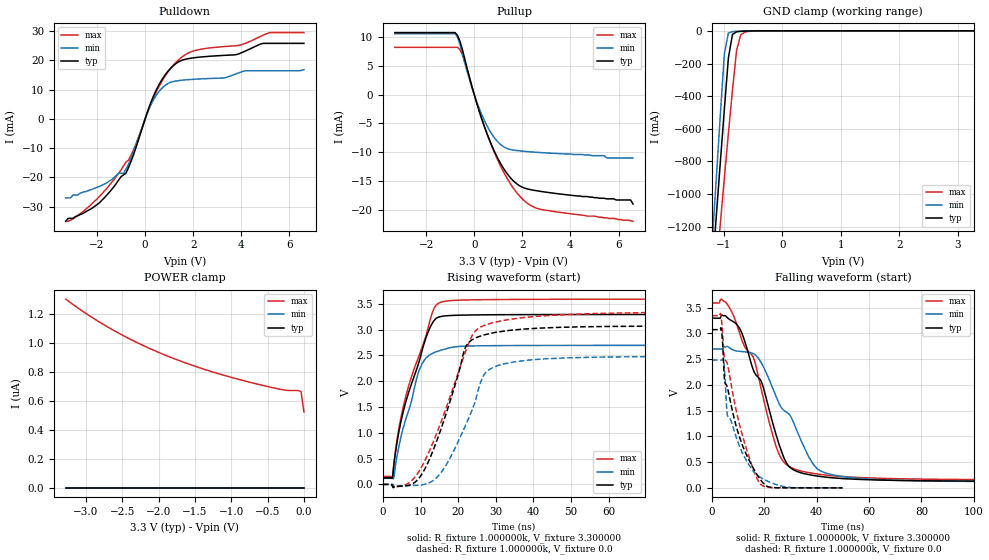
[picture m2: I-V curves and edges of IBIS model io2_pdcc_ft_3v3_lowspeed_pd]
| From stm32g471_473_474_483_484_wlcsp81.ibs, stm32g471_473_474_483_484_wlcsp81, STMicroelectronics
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|   Model io2_pdcc_ft_3v3_lowspeed_pd
[Model]  io2_pdcc_ft_3v3_lowspeed_pd
Model_type I/O
Polarity   Non-Inverting
Enable   Active-Low
Vinl =   0.990000V
Vinh =   2.310000V
Vmeas =  1.650000V
Cref =   30.000000pF
Rref =   100.000000M
Vref =   0.0V
C_comp   4.843300pF   4.282700pF   5.299100pF
[Temperature Range]   25.000000   -40.000000   0.125000k
[Pullup Reference]   3.300000V   2.700000V   3.600000V
[Pulldown Reference]   0.0V   0.0V   0.0V
[POWER Clamp Reference]   3.300000V   2.700000V   3.600000V
[GND Clamp Reference]   0.0V   0.0V   0.0V
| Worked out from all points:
|   slope of the pulldown table from 0 to 0.495 V, typ, clamps not added: 47.5 ohm
|   slope of the pullup table from 0 to 0.495 V, typ, clamps not added: 77.3 ohm
|   GND clamp passes 1 mA (typ) near -0.58 V on its own axis
|   rising waveform, R_fixture 1.000000k, V_fixture 3.300000: 20-80 % time 7.03ns typ, 5.52ns min, 7.83ns max; typ from 0.128 V to 3.29 V
|   rising waveform, R_fixture 1.000000k, V_fixture 0.0: 20-80 % time 8.02ns typ, 8.26ns min, 10ns max; typ from 0 V to 3.07 V
|   falling waveform, R_fixture 1.000000k, V_fixture 3.300000: 20-80 % time 12.6ns typ, 15.5ns min, 13.1ns max; typ from 3.29 V to 0.128 V
|   falling waveform, R_fixture 1.000000k, V_fixture 0.0: 20-80 % time 9.01ns typ, 8.35ns min, 9.29ns max; typ from 3.07 V to 0 V
[Pulldown]
|Voltage   I(typ)   I(min)   I(max)
-3.3V     -35mA      -27mA      -35mA
-2V       -29.3mA    -23.4mA    -27.4mA
-800mV    -18.58mA   -17.27mA   -14.77mA
-400mV    -10.26mA   -9.232mA   -8.958mA
400mV     8.782mA    7.287mA    8.184mA
800mV     14.68mA    11.26mA    14.27mA
1.3V      19.02mA    12.98mA    19.48mA
2V        20.86mA    13.52mA    23.19mA
3.3V      21.71mA    14.02mA    24.73mA
4V        22.58mA    16.07mA    25.32mA
5.2V      25.81mA    16.46mA    29.5mA
6.6V      25.81mA    16.8mA     29.5mA
[Pullup]
|Voltage   I(typ)   I(min)   I(max)
-3.3V     10.77mA    10.56mA    8.202mA
-800mV    10.77mA    10.56mA    8.202mA
-600mV    9.344mA    8.807mA    7.862mA
-400mV    6.305mA    5.605mA    5.819mA
0V        0A         0A         0A
600mV     -7.545mA   -5.957mA   -7.567mA
1.2V      -12.7mA    -9.001mA   -13.28mA
1.8V      -15.6mA    -9.729mA   -17.2mA
2.2V      -16.37mA   -9.895mA   -18.84mA
2.7V      -16.76mA   -10.05mA   -19.86mA
6.5V      -18.3mA    -11mA      -21.9mA
6.6V      -19mA      -11mA      -22mA
[GND_clamp]
|Voltage   I(typ)   I(min)   I(max)
-3.3V     -9.767A    -9.748A    -9.881A
-1.2V     -1.489A    -1.316A    -1.768A
-1.13V    -1.15A     -919.7mA   -1.477A
-1.06V    -814.4mA   -527.2mA   -1.19A
-990mV    -484.1mA   -143.5mA   -905.3mA
-920mV    -166.2mA   -12.78mA   -627.6mA
-850mV    -21.89mA   -4.523mA   -362mA
-780mV    -6.002mA   -2.842mA   -119.7mA
-710mV    -3.249mA   -1.575mA   -25.45mA
-640mV    -1.849mA   -639.2uA   -8.025mA
-290mV    -9.102uA   -6.337uA   -111.2uA
3.28V     86.66uA    57.88uA    109.2uA
[POWER_clamp]
|Voltage   I(typ)   I(min)   I(max)
-3.28V    0A         0A         1.304uA
-2.96V    0A         0A         1.191uA
-2.6V     0A         0A         1.083uA
-2.24V    0A         0A         989.7nA
-1.84V    0A         0A         902.9nA
-1.4V     0A         0A         823.6nA
-880mV    0A         0A         747.1nA
-320mV    0A         0A         680.5nA
-240mV    0A         0A         673.6nA
-80mV     0A         0A         672.6nA
-40mV     0A         0A         665.5nA
0V        0A         0A         524.5nA
[Ramp]
| variable   typ   min   max
dV/dt_r  1.96290/5.79247n   1.60422/5.62695n   2.13977/6.97540n
dV/dt_f  1.96892/9.90306n   1.61029/11.88034n   2.14575/10.42956n
R_load = 10.000000k
[Rising Waveform]
R_fixture= 1.000000k
V_fixture= 3.300000
V_fixture_min= 2.700000
V_fixture_max= 3.600000
|time   V(typ)   V(min)   V(max)
0s        127.7mV    118.2mV    154.6mV
2.603ns   149.1mV    118.6mV    147.3mV
3.003ns   439.8mV    168.7mV    447.4mV
3.604ns   748mV      486.7mV    788.8mV
5.205ns   1.349V     1.039V     1.44V
9.409ns   2.33V      2.163V     2.459V
12.41ns   3.025V     2.511V     3.15V
14.81ns   3.244V     2.586V     3.513V
25.03ns   3.286V     2.686V     3.579V
99.7ns    3.294V     2.696V     3.592V
[Rising Waveform]
R_fixture= 1.000000k
V_fixture= 0.0
V_fixture_min= 0.0
V_fixture_max= 0.0
|time   V(typ)   V(min)   V(max)
0s        35.1nV     22.45nV    11.46uV
2.703ns   -58.39mV   384.5uV    -66.87mV
8.408ns   35.62mV    -19.04mV   132.1mV
11.11ns   293.7mV    3.305mV    455.1mV
14.71ns   924.2mV    163.8mV    1.069V
21.92ns   2.653V     1.137V     2.567V
24.32ns   2.829V     1.558V     2.95V
27.33ns   2.906V     2.17V      3.094V
48.65ns   3.048V     2.452V     3.292V
149.5ns   3.072V     2.48V      3.344V
[Falling Waveform]
R_fixture= 1.000000k
V_fixture= 3.300000
V_fixture_min= 2.700000
V_fixture_max= 3.600000
|time   V(typ)   V(min)   V(max)
0s        3.294V     2.696V     3.592V
5.205ns   3.339V     2.736V     3.604V
10.41ns   3.11V      2.651V     3.026V
16.02ns   2.26V      2.6V       2.502V
19.22ns   2.013V     2.391V     1.825V
25.23ns   909.4mV    1.684V     702mV
31.63ns   338.6mV    1.209V     363.6mV
40.04ns   230.3mV    379mV      271mV
50.85ns   177.7mV    212.9mV    215.6mV
199.4ns   127.7mV    118.3mV    154.7mV
[Falling Waveform]
R_fixture= 1.000000k
V_fixture= 0.0
V_fixture_min= 0.0
V_fixture_max= 0.0
|time   V(typ)   V(min)   V(max)
0s        3.072V     2.48V      3.344V
3.303ns   3.1V       2.48V      3.378V
3.904ns   2.92V      2.479V     3.106V
4.805ns   2.086V     2.272V     2.513V
5.806ns   1.96V      1.438V     2.416V
9.109ns   1.221V     1.006V     1.537V
14.61ns   493.3mV    408.3mV    526.5mV
18.42ns   167.2mV    209.2mV    77.49mV
23.32ns   6.569mV    85.42mV    3.559mV
49.85ns   343.2uV    415uV      474uV
